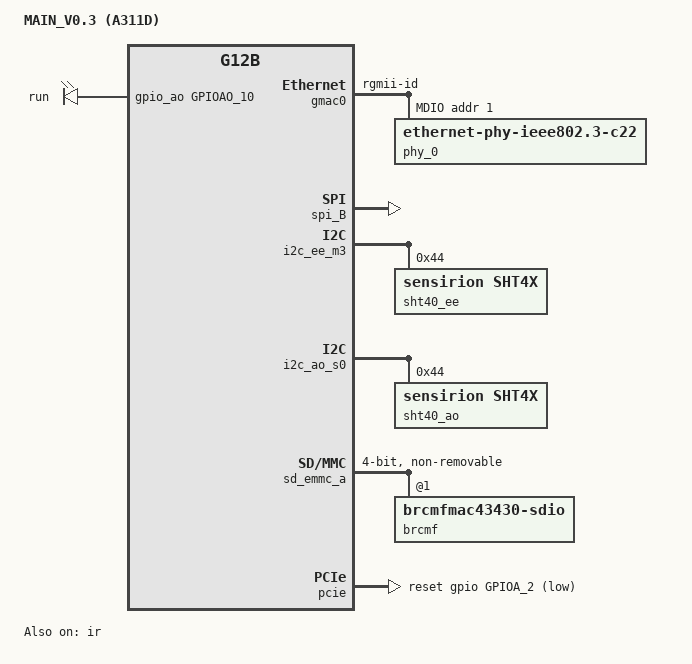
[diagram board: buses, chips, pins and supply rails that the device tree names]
/**
 * MAIN_V0.3 底板 DTS 适配骨架
 * ---------------------------------------------------------------------------
 * SoC  : Amlogic A311D (G12B, pin-to-pin S922X)
 * 板本: MAIN_V0.3,CN1/CN2/CN3 = AXK5F80337YG (80P BTB)
 *
 * 数据来源：本板 MAIN_V0.3 全工程网表实测（495 元件 / 393 网络）
 *   → 详见同目录《DTS适配要求.md》，每项均有网表出处
 *
 * ⚠⚠⚠ 合并厂家 BSP 前必读 ⚠⚠⚠
 *   1. 本文件 GPIO 分配来自**本板网表实测**，厂家 BSP 底板用的是**另一套固定分配**。
 *      直接覆盖厂家 .dtsi 会导致厂商驱动 probe 失败。正确做法是逐项比对后取交集。
 *   2. 标 [厂商核对] 的项，含义是"本板实测如此，但需确认厂家驱动是否复用该脚"。
 *   3. 标 [本板独有] 的项，厂家 BSP 里通常不存在，需新增。
 *   4. GPIO 复用名（TDMB_D0/PWM_D/WORLD_SYNC 等）见 A311D 规格书 pad 表，
 *      本板一律按**普通 GPIO**使用，不启用复用功能 → 只需 bias 配置。
 *
 * 引用方式：
 *   #include "main-v0.3.dtsi"
 */

/ {
    model = "MAIN_V0.3 (A311D)";
    compatible = "amlogic,a311d", "amlogic,g12b";

    aliases {
        mmc0 = &sd_emmc_c;    /* eMMC  */
        mmc1 = &sd_emmc_b;    /* SD 卡 */
        mmc2 = &sd_emmc_a;    /* SDIO → AP6256 WiFi/BT */
    };
};

/* ===========================================================================
 * 1. 以太网 —— RGMII 千兆 + RTL8211F（pin-to-pin 兼容 YT8531H-CA）
 * ===========================================================================
 * PHY : U23 = RTL8211F，QFN40
 * 接法: GMAC0 ← RGMII → U23 → RJ45
 * 复位: RGMII_RST#(CN3-2) ──R50(0Ω)──→ PHY0_RSTN(U23-12)，底板不另配 GPIO
 * 模式: RGMII 与 RMII 互斥(PRG_ETH_REG1[0], 仅复位采样) → 本板锁 RGMII
 *
 * ✅ PHY 地址 = 1（strap 电阻实测 + 贴装状态确认）
 *    PHYAD0(pin22,RXD3)  R78 贴 → A_3V3 = 1
 *    PHYAD1(pin27,RXCLK) R79 贴 → GND    = 0
 *    PHYAD2(pin26,RXCTL) R80 贴 → GND    = 0
 *    → 3'b001 = 1
 *
 * ✅ RGMII 延时（参考 BananaPi M2S 做法，strap 贴装状态实测）
 *    TXDLY(pin24,RXD1)：**R77 贴→A_3V3 = 1 → PHY 加 2ns**（R76 不贴，预留空位）
 *    RXDLY(pin25,RXD0)：**R74 贴→GND    = 0 → PHY 不加**  （R75 不贴）
 *    → **仅 TX 有 2ns 延时，RX 无延时**
 *
 * ✅✅ phy-mode = "rgmii-id"（**基于 PCB 实测长度数据定案**）
 *
 * PCB 等长网络组实测（立创 EDA 面板）：
 *   TX 组(6): TXCLK 485.1 / TXD3 484.2 / TXEN 483.5 / TXD0 481.9 / TXD1 480.2 / TXD2 478.6 mil
 *   RX 组(6): RXCLK 755.9 / RXD1 755.9 / RXD3 755.9 / RXDV 755.9 / RXD0 751.8 / RXD2 748.6 mil
 *
 *   → TX 组内散布 6.5 mil ≈ **0.98 ps**；RX 组内散布 7.3 mil ≈ **1.10 ps**
 *   → clock 相对最长 data 仅偏0.14 ps(TX) / 0 ps(RX)
 *   → RGMII 需求 2000 ps，**PCB 只能提供 0.007%**
 *   → **PCB 是标准等长设计，2ns 完全靠 PHY 内部延迟线提供**
 *   （2ns 若靠 PCB 走线需 ~13000 mil，与实际 500/750 mil 差一个数量级）
 *
 * → mainline `rtl8211f_config_init()` 在 "rgmii-id" 下会用软件寄存器
 *   **强制打开 TX+RX 双向 2ns**，因此：
 *   - ✅ 不依赖 PHY strap 状态（strap 只是上电默认值，驱动会覆盖）
 *   - ✅ **无需改动任何硬件**（RXDLY 上拉/下拉都无所谓）
 *   - ❌ 禁用 "rgmii"：驱动会把 PHY 两个延时都关掉 → 时序崩溃、千兆链路起不来
 *   -❌ 禁用 "rgmii-txid"/"rgmii-rxid"：只开单向，RX 或 TX 缺 2ns
 *
 *   与 Khadas VIM3（同A311D + RTL8211F）mainline DTS 配置一致。
 */
&gmac0 {
    status = "okay";
    phy-mode = "rgmii-id";

    pinctrl-0 = <&eth_rgmii_pins>;
    pinctrl-names = "default";

    /* 底板已用 R50(0Ω) 把 RGMII_RST# 直通到 PHY0_RSTN，核心板拉低即复位 PHY */

    &mdio {
        /* PHY 地址 1，由 strap 电阻硬定：R79/R80→GND, R78→A_3V3 */
        phy_0: ethernet-phy@1 {
            compatible = "ethernet-phy-ieee802.3-c22";
            reg = <1>;                       /* 3'b001，strap 实测确认 */
            max-link-speed = <1000>;
        };
    };
};

/* ===========================================================================
 * 2. SPI —— SPI 屏（FPC5）
 * ===========================================================================
 * SPI_B : MOSI=GPIOH_4, MISO=GPIOH_5, CS=GPIOH_7, SCLK=GPIOH_6  → FPC5
 * 屏控制: RST=GPIOA_3, RS=GPIOA_4（普通 GPIO，非 SoC SPI 复用）
 * 背光  : LCD_BL_EN=GPIOH_8 → Q15(MMBT3906 PNP) → SPI_LEDA → FPC5-1
 *
 * ⚠ SPI bank 由厂商 pinctrl 决定 → [厂商核对]
 */
&spi_B {
    status = "okay";

    pinctrl-0 = <&spi_b_pins>;
    pinctrl-names = "default";

    num-cs = <1>;
    cs-gpios = <&gpio GPIOH_7 GPIO_ACTIVE_LOW>;   /* SPI_B_SS0 */

    /* SPI_LEDA(GPIOH_8) 由背光开关单独控制，不走 SPI 数据线 */
};

/* ===========================================================================
 * 3. GPIO 控制组 —— 背光 / 运行灯 / 屏 RST-RS
 * ===========================================================================
 * 极性对照（务必看清，方向相反）：
 *   GPIOH_8  → Q15(MMBT3906 **PNP** 高边) → **ACTIVE_LOW**（拉低背光亮）
 *   GPIOAO_10→ Q8 (PMBS3904 **NPN** 低边) → **ACTIVE_HIGH**（拉高灯亮）
 */
&gpio_ctrl {
    /* ---- LCD 背光开关：GPIOH_8 → Q15(PNP) → 3.3V 导通 ---- */
    lcd-backlight-gpios = <&gpio GPIOH_8 GPIO_ACTIVE_LOW>;

    /* ---- SPI 屏复位 / 寄存器选择：普通 GPIO ---- */
    lcd-rst-gpios = <&gpio GPIOA_3 GPIO_ACTIVE_HIGH>;   /* 极性按屏模组手册 */
    lcd-rs-gpios  = <&gpio GPIOA_4 GPIO_ACTIVE_HIGH>;
};

/* ===========================================================================
 * 4. 运行指示灯 —— LED4
 * ===========================================================================
 * Q8(PMBS3904, NPN) 低边开关：Emitter→GND，Base←R110(100Ω)←GPIOAO_10
 * A_3V3 → R108(4.7kΩ) → LED4 → Q8 → GND
 * LED1/LED2/LED3 直连电源与地，无 GPIO → 不声明
 *
 * 节点声明见下方 &leds（含 heartbeat）
 */

/* 运行灯：开机即心跳亮，可运行时切频率档 */
&leds {
    status = "okay";
    compatible = "gpio-leds";

    run_led {
        label = "run";
        gpios = <&gpio_ao GPIOAO_10 GPIO_ACTIVE_HIGH>;

        /* 内核心跳：开机自亮，无需用户态
         * 频率分档，运行时可调：
         *   echo 1   > beat   熄灭
         *   echo 2   > beat   常亮
         *   echo 62  > beat   快闪档
         *   echo 130 > beat   1秒周期
         *   echo 190 > beat   4秒周期
         *   echo 255 > beat   10秒周期
         * 要任意频率 → 另跑用户态脚本写 brightness
         */
        linux,default-trigger = "heartbeat";
        state = "on";
    };
};

/* ⚠ 节点归属：本 leds 控A311D 的 GPIOAO_10 → 应放在**核心板 DT**。
 * 若厂家 BSP 已定义 leds，在其之后 include 本文件即可覆盖。
 *
 * ⚠ AO 域优势：gpio_ao 的 can_sleep=false，心跳定时器可在 atomic
 *   上下文直接改寄存器，不会 "Cannot sleep while holding a GPIO"。
 *   s2idle 浅睡期间心跳继续闪；S3 深睡 CPU 停则不闪（非 GPIO 问题）。
 */

/* ===========================================================================
 * 5. 红外接收 —— U38 IRM-V838M3-C/TR1
 * ===========================================================================
 * 链路: U38.3 → R116/R115 → CN3-75(IR_IN) → 核心板 GPIOAO_5
 * 复用名: IR_REMOTE_IN / PWMAO_D
 * AO 域 → 休眠保持，可做唤醒源
 */
&ir {
    status = "okay";
    gpios = <&gpio_ao GPIOAO_5 GPIO_ACTIVE_LOW>;
};

/* ===========================================================================
 * 6. 温湿度传感器 —— 两颗 SHT40 (0x44)
 * ===========================================================================
 * U42 @ TOUCH_I2C  → CN2-62/64 → GPIOA_14/A15 (I2C_EE_M3)，供电 A_3V3
 *                    共线还有 FPC3 触控座（未贴，bom=no）
 * U45 @ I2C_AO_S0 → AO 域（经 CN3），供电 VDDIO_AO18(1.8V)
 *
 * ✅ 两颗同地址 0x44 但在**不同 I2C 控制器**上 → 合法共存
 * ⚠ 切勿把两者挂到同一个 &i2c 控制器下 → 地址冲突，总线锁死
 * ⚠ I2C 控制器节点名/总线号以厂商 BSP 为准 → [厂商核对]
 */
&i2c_ee_m3 {                      /* [厂商核对] 节点名 */
    status = "okay";

    sht40_ee: sht40@44 {
        compatible = "sensirion,sht4x";
        reg = <0x44>;
    };
};

&i2c_ao_s0 {                      /* [厂商核对] 节点名 */
    status = "okay";

    sht40_ao: sht40@44 {
        compatible = "sensirion,sht4x";
        reg = <0x44>;
    };
};

/* ===========================================================================
 * 7. WiFi / BT —— AP6256 (U40)
 * ===========================================================================
 * SDIO  : WIFI_SD_* → CN3-44~54 → 核心板；固定占 &sd_emmc_a
 *         （A311D 仅 1 个 SDIO 控制器，无备选）
 * 控制  : GPIOX_6(U40-12)、GPIOX_7(U40-13)、GPIOX_19(U40-6)
 * UART  : BTUART_A_* → CN3-74~80
 * PCM   : BTPCM_*    → CN3-64~70
 *
 * ⚠ AP6256 驱动(brcmfmac/ap6256) 通常在厂商核心板 DTS 中，本板仅引线
 *   → GPIOX_6/7/19 若已被厂商占用需核对（[厂商核对]）
 */
&sd_emmc_a {
    status = "okay";
    bus-width = <4>;
    non-removable;
    cap-sdio-irq;
    keep-power-in-suspend;
    max-frequency = <200000000>;

    mmc-pwrseq = <&brcmf_wifi_pwrseq>;    /* [厂商核对] */

    brcmf: wifi@1 {
        compatible = "brcmfmac43430-sdio";
        reg = <1>;
    };
};

/* ===========================================================================
 * 8. PCIe / USB3.0 切换 —— FUSB340TMX (U28)
 * ===========================================================================
 * GPIOA_2 → CN2-36 → R86(0Ω) → FUSB340 `.6=SEL`
 * `.7=OE` 直接接GND（恒使能，0=Switches Enabled）
 *
 *   GPIOA_2 = LOW  → SEL=0 → SW1 → **USB3.0**
 *   GPIOA_2 = HIGH → SEL=1 → SW2 → **PCIe**
 *
 * ⚠pcie 与 USB3 互斥，切换需驱动配合（非运行时自动）
 */
&pcie {
    status = "okay";

    reset-gpios = <&gpio GPIOA_2 GPIO_ACTIVE_LOW>;  /* 0=USB3.0, 1=PCIe */
};

/* ===========================================================================
 * 9. MT9700 —— USB OTG VBUS 开关【无需任何节点】
 * ===========================================================================
 * EN 已改电阻上拉常开 → 永久导通 → GPIOAO_11 已释放
 * SET 脚 R159=6.8kΩ → ILIM ≈ 1A(typ)
 * 保护全为硬件：限流 / 反向阻断 / 热关断135°C / UVLO 2.2V
 * 无 I2C、无寄存器 → 不存在 Linux 驱动 → DTS 不声明
 * → 切勿在 DTS 里引用 GPIOAO_11
 */

/* ===========================================================================
 * 10. USB3.0 Hub —— U31 SL6341D【无需 SoC 控制】
 * ===========================================================================
 * U30(FSW3410) bom=no 未贴；U31(SL6341D) bom=yes 才是实际使用
 * RSTN(pin31) 已由 C126+R95 硬件复位 → **不接 GPIO**
 * ⚠ 曾评估用 GPIOA_7 控其复位，结论否决：
 *    Hub 无需运行时复位，且驱动异常触发复位会导致已枚举 USB 设备全部掉线
 * → GPIOA_7 保留给核心板
 */

/* ===========================================================================
 * 11. 未使用器件 —— DTS 一律不引用
 * ===========================================================================
 * U4 (RT9013-18GB)      bom=no | VDDCPU_B_EN(R6/R12/Q2) 整链未使用
 * U30(FSW3410)          bom=no | USB3 控制器未贴
 * Q1 (2KJ7107DFN)       bom=no | P_G 支路
 * Q2 (PMBT3904)         bom=no | P_G 支路
 * Q13/Q14 (MS3134)      bom=no | 原摄像头 I2C 电平转换
 * SW5                   bom=no | ADC 键
 * FPC3 各脚FPC30-T1T1-2010-A  bom=no
 * R121/R130/R124/R126/R128/R10/R123  预留位(0Ω/22Ω)
 * CN6 / FPC6            已删除
 */

/* ===========================================================================
 * 12. 其他屏蔽项
 * ===========================================================================
 * &csi / &csi2   —— 摄像头未使用，不声明
 * &sdio相关摄像头 —— 不声明
 * adc-keys       —— SARADC_CH0/CH3 均悬空，SW5 未贴，不声明
 * gpio-keys      —— 4 个按键(全非GPIO 直连)，底板不声明
 *                   SW2→PWR_RST / SW3→EMMC_KEY / SW4→PWR_KEY_DET / SW5→ADC_KEY
 *                   (R112/R113/R114 均为 **100Ω**，非 1k)
 *                   其中 PWR_KEY_DET(CN3-43) 可在**核心板**做 power 唤醒键
 * SPI_LEDA(GPIOH_8) —— 不走 SPI 数据线，是独立背光开关
 * GPIOAO_11   —— 已释放（MT9700 EN 改硬件常开）
 */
